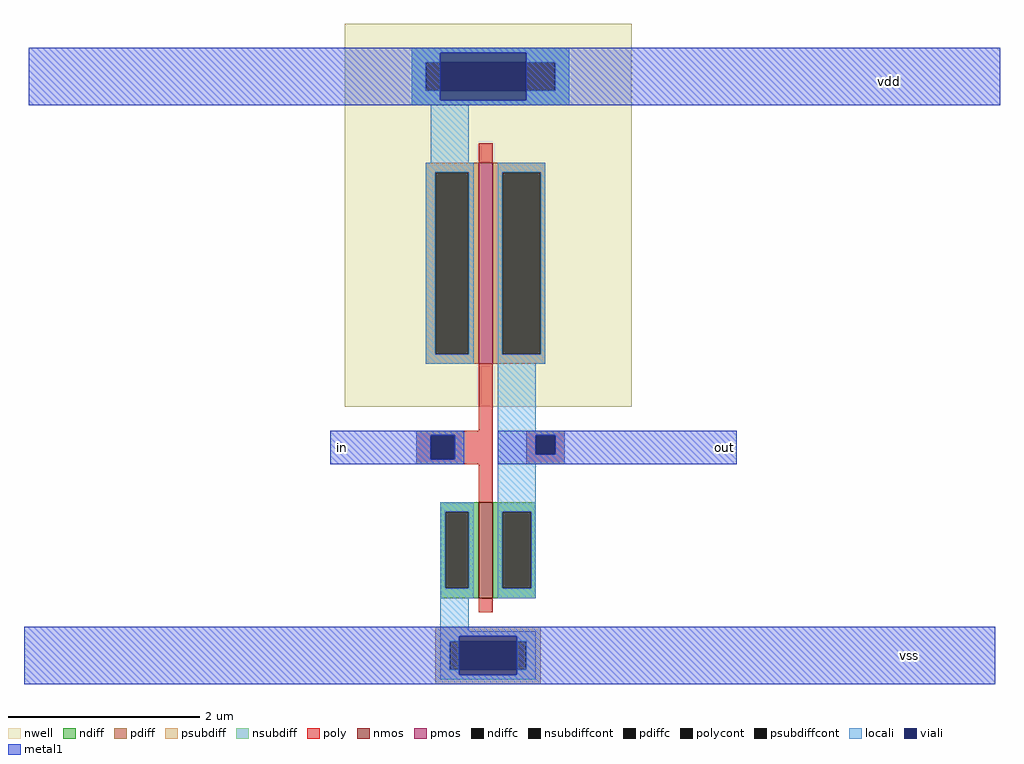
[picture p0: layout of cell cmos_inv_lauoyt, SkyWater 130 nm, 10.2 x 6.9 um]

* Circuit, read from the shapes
.subckt cmos_inv_lauoyt in out vdd vss
XM1 out in vss vss sky130_fd_pr__nfet_01v8 w=1 l=0.15
XM2 out in vdd vdd sky130_fd_pr__pfet_01v8 w=2.1 l=0.15
.ends

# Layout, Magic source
magic
tech sky130A
<< nwell >>
rect -400 -100 -100 300
<< nmos >>
rect -260 -300 -245 -200
<< pmos >>
rect -260 -55 -245 155
<< ndiff >>
rect -300 -210 -260 -200
rect -300 -290 -295 -210
rect -270 -290 -260 -210
rect -300 -300 -260 -290
rect -245 -210 -200 -200
rect -245 -290 -235 -210
rect -205 -290 -200 -210
rect -245 -300 -200 -290
<< pdiff >>
rect -315 145 -260 155
rect -315 -45 -305 145
rect -270 -45 -260 145
rect -315 -55 -260 -45
rect -245 145 -190 155
rect -245 -45 -235 145
rect -195 -45 -190 145
rect -245 -55 -190 -45
<< ndiffc >>
rect -295 -290 -270 -210
rect -235 -290 -205 -210
<< pdiffc >>
rect -305 -45 -270 145
rect -235 -45 -195 145
<< psubdiff >>
rect -305 -345 -195 -330
rect -305 -375 -290 -345
rect -210 -375 -195 -345
rect -305 -390 -195 -375
<< nsubdiff >>
rect -330 260 -165 275
rect -330 230 -315 260
rect -180 230 -165 260
rect -330 215 -165 230
<< psubdiffcont >>
rect -290 -375 -210 -345
<< nsubdiffcont >>
rect -315 230 -180 260
<< poly >>
rect -260 155 -245 175
rect -260 -125 -245 -55
rect -325 -130 -245 -125
rect -325 -155 -310 -130
rect -285 -155 -245 -130
rect -325 -160 -245 -155
rect -210 -130 -170 -125
rect -210 -150 -200 -130
rect -180 -150 -170 -130
rect -210 -160 -170 -150
rect -260 -200 -245 -160
rect -260 -315 -245 -300
<< polycont >>
rect -310 -155 -285 -130
rect -200 -150 -180 -130
<< locali >>
rect -330 270 -165 275
rect -330 260 -300 270
rect -210 260 -165 270
rect -330 230 -315 260
rect -180 230 -165 260
rect -330 220 -300 230
rect -210 220 -165 230
rect -330 215 -165 220
rect -310 155 -270 215
rect -315 145 -265 155
rect -315 -45 -305 145
rect -270 -45 -265 145
rect -315 -55 -265 -45
rect -240 145 -190 155
rect -240 -45 -235 145
rect -195 -45 -190 145
rect -240 -55 -190 -45
rect -240 -125 -200 -55
rect -325 -130 -275 -125
rect -325 -155 -310 -130
rect -285 -155 -275 -130
rect -325 -160 -275 -155
rect -240 -130 -170 -125
rect -240 -150 -200 -130
rect -180 -150 -170 -130
rect -240 -160 -170 -150
rect -300 -210 -265 -200
rect -300 -290 -295 -210
rect -270 -290 -265 -210
rect -300 -300 -265 -290
rect -240 -210 -200 -160
rect -240 -290 -235 -210
rect -205 -290 -200 -210
rect -240 -300 -200 -290
rect -300 -335 -270 -300
rect -300 -340 -200 -335
rect -300 -345 -280 -340
rect -220 -345 -200 -340
rect -300 -375 -290 -345
rect -210 -375 -200 -345
rect -300 -380 -280 -375
rect -220 -380 -200 -375
rect -300 -385 -200 -380
<< viali >>
rect -300 260 -210 270
rect -300 230 -210 260
rect -300 220 -210 230
rect -310 -155 -285 -130
rect -200 -150 -180 -130
rect -280 -345 -220 -340
rect -280 -375 -220 -345
rect -280 -380 -220 -375
<< metal1 >>
rect -730 270 285 275
rect -730 220 -300 270
rect -210 220 285 270
rect -730 215 285 220
rect -415 -130 -275 -125
rect -415 -155 -310 -130
rect -285 -155 -275 -130
rect -415 -160 -275 -155
rect -240 -130 10 -125
rect -240 -150 -200 -130
rect -180 -150 10 -130
rect -240 -160 10 -150
rect -735 -340 280 -330
rect -735 -380 -280 -340
rect -220 -380 280 -340
rect -735 -390 280 -380
<< labels >>
rlabel metal1 170 240 170 240 1 vdd
rlabel metal1 190 -360 190 -360 1 vss
rlabel metal1 -10 -150 5 -135 1 out
rlabel metal1 -410 -150 -395 -135 1 in
<< end >>
